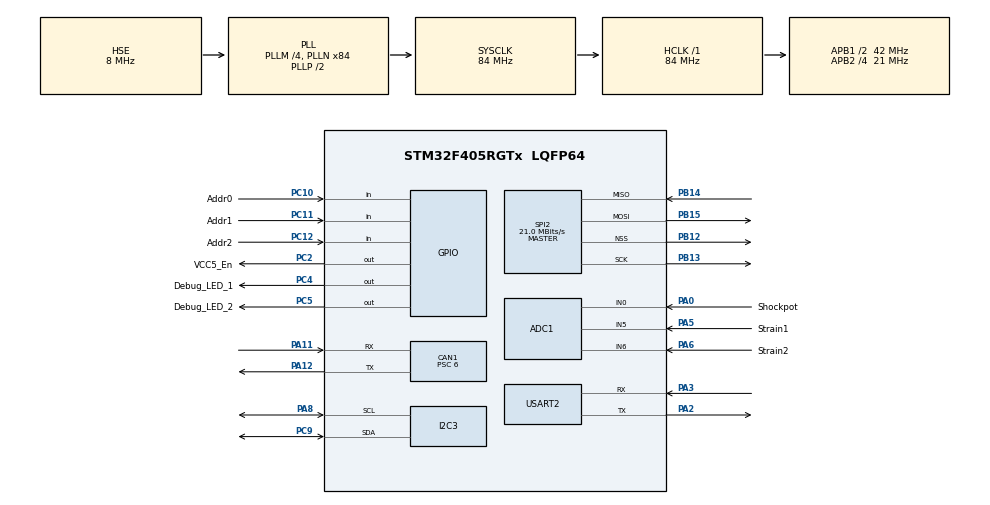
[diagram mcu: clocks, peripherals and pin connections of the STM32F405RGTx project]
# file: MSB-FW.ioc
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ADC1.Channel-0\#ChannelRegularConversion=ADC_CHANNEL_0
ADC1.Channel-1\#ChannelRegularConversion=ADC_CHANNEL_5
ADC1.Channel-2\#ChannelRegularConversion=ADC_CHANNEL_6
ADC1.ClockPrescaler=ADC_CLOCK_SYNC_PCLK_DIV8
ADC1.ContinuousConvMode=ENABLE
ADC1.DMAContinuousRequests=ENABLE
ADC1.EOCSelection=ADC_EOC_SEQ_CONV
ADC1.NbrOfConversion=3
ADC1.NbrOfConversionFlag=1
ADC1.Rank-0\#ChannelRegularConversion=1
ADC1.Rank-1\#ChannelRegularConversion=2
ADC1.Rank-2\#ChannelRegularConversion=3
ADC1.SamplingTime-0\#ChannelRegularConversion=ADC_SAMPLETIME_3CYCLES
ADC1.SamplingTime-1\#ChannelRegularConversion=ADC_SAMPLETIME_3CYCLES
ADC1.SamplingTime-2\#ChannelRegularConversion=ADC_SAMPLETIME_3CYCLES
ADC1.ScanConvMode=ENABLE
ADC1.master=1
CAN1.ABOM=ENABLE
CAN1.BS1=CAN_BS1_11TQ
CAN1.BS2=CAN_BS2_2TQ
CAN1.CalculateBaudRate=500000
CAN1.CalculateTimeBit=2000
CAN1.CalculateTimeQuantum=142.85714285714286
CAN1.NART=DISABLE
CAN1.Prescaler=6
Dma.ADC1.0.Direction=DMA_PERIPH_TO_MEMORY
Dma.ADC1.0.FIFOMode=DMA_FIFOMODE_DISABLE
Dma.ADC1.0.Instance=DMA2_Stream0
Dma.ADC1.0.MemDataAlignment=DMA_MDATAALIGN_WORD
Dma.ADC1.0.MemInc=DMA_MINC_ENABLE
Dma.ADC1.0.Mode=DMA_CIRCULAR
Dma.ADC1.0.PeriphDataAlignment=DMA_PDATAALIGN_WORD
Dma.ADC1.0.PeriphInc=DMA_PINC_DISABLE
Dma.ADC1.0.Priority=DMA_PRIORITY_MEDIUM
Dma.Request0=ADC1
FREERTOS.Tasks01=defaultTask,24,128,StartDefaultTask,Default,NULL,Dynamic,NULL,NULL
FREERTOS.configCHECK_FOR_STACK_OVERFLOW=2
FREERTOS.configUSE_MALLOC_FAILED_HOOK=1
FREERTOS.configUSE_PREEMPTION=0
IWDG.Prescaler=IWDG_PRESCALER_32
Mcu.Family=STM32F4
Mcu.Name=STM32F405RGTx
Mcu.Package=LQFP64
NVIC.CAN1_RX0_IRQn=true\:5\:0\:false\:false\:true\:true\:true\:true\:true
NVIC.DMA2_Stream0_IRQn=true\:5\:0\:false\:false\:true\:true\:false\:true\:true
NVIC.PriorityGroup=NVIC_PRIORITYGROUP_4
NVIC.TIM3_IRQn=true\:15\:0\:false\:false\:true\:false\:false\:true\:true
NVIC.TimeBase=TIM3_IRQn
NVIC.TimeBaseIP=TIM3
PA0-WKUP.GPIO_Label=Shockpot
PA0-WKUP.Signal=ADCx_IN0
PA11.Mode=CAN_Activate
PA11.Signal=CAN1_RX
PA12.Mode=CAN_Activate
PA12.Signal=CAN1_TX
PA13.Mode=Trace_Asynchronous_SW
PA13.Signal=SYS_JTMS-SWDIO
PA14.Mode=Trace_Asynchronous_SW
PA14.Signal=SYS_JTCK-SWCLK
PA15.Signal=SYS_JTDI
PA2.Mode=Asynchronous
PA2.Signal=USART2_TX
PA3.Mode=Asynchronous
PA3.Signal=USART2_RX
PA5.GPIO_Label=Strain1
PA5.Signal=ADCx_IN5
PA6.GPIO_Label=Strain2
PA6.Signal=ADCx_IN6
PA8.Mode=I2C
PA8.Signal=I2C3_SCL
PB12.Mode=NSS_Signal_Hard_Output
PB12.Signal=SPI2_NSS
PB13.Mode=Full_Duplex_Master
PB13.Signal=SPI2_SCK
PB14.Mode=Full_Duplex_Master
PB14.Signal=SPI2_MISO
PB15.Mode=Full_Duplex_Master
PB15.Signal=SPI2_MOSI
PB3.Mode=Trace_Asynchronous_SW
PB3.Signal=SYS_JTDO-SWO
PC10.GPIO_Label=Addr0
PC10.Signal=GPIO_Input
PC11.GPIO_Label=Addr1
PC11.Signal=GPIO_Input
PC12.GPIO_Label=Addr2
PC12.Signal=GPIO_Input
PC14-OSC32_IN.Signal=RCC_OSC32_IN
PC15-OSC32_OUT.Signal=RCC_OSC32_OUT
PC2.GPIO_Label=VCC5_En
PC2.GPIO_PuPd=GPIO_PULLUP
PC2.Signal=GPIO_Output
PC4.GPIO_Label=Debug_LED_1
PC4.Signal=GPIO_Output
PC5.GPIO_Label=Debug_LED_2
PC5.Signal=GPIO_Output
PC9.Mode=I2C
PC9.Signal=I2C3_SDA
PH0-OSC_IN.Mode=HSE-External-Clock-Source
PH0-OSC_IN.Signal=RCC_OSC_IN
PH1-OSC_OUT.Mode=HSE-External-Clock-Source
PH1-OSC_OUT.Signal=RCC_OSC_OUT
ProjectManager.HeapSize=0x200
ProjectManager.StackSize=0x400
ProjectManager.TargetToolchain=Makefile
RCC.48MHZClocksFreq_Value=42000000
RCC.AHBFreq_Value=84000000
RCC.APB1CLKDivider=RCC_HCLK_DIV2
RCC.APB1Freq_Value=42000000
RCC.APB1TimFreq_Value=84000000
RCC.APB2CLKDivider=RCC_HCLK_DIV4
RCC.APB2Freq_Value=21000000
RCC.APB2TimFreq_Value=42000000
RCC.CortexFreq_Value=84000000
RCC.HCLKFreq_Value=84000000
RCC.HSE_VALUE=8000000
RCC.HSI_VALUE=16000000
RCC.LSE_VALUE=32768
RCC.PLLM=4
RCC.PLLN=84
RCC.PLLSourceVirtual=RCC_PLLSOURCE_HSE
RCC.SYSCLKFreq_VALUE=84000000
RCC.SYSCLKSource=RCC_SYSCLKSOURCE_PLLCLK
RCC.VCOOutputFreq_Value=168000000
SH.ADCx_IN0.0=ADC1_IN0,IN0
SH.ADCx_IN5.0=ADC1_IN5,IN5
SH.ADCx_IN6.0=ADC1_IN6,IN6
SPI2.BaudRatePrescaler=SPI_BAUDRATEPRESCALER_2
SPI2.CalculateBaudRate=21.0 MBits/s
SPI2.Direction=SPI_DIRECTION_2LINES
SPI2.Mode=SPI_MODE_MASTER
SPI2.VirtualNSS=VM_NSSHARD
SPI2.VirtualType=VM_MASTER
STMicroelectronics.X-CUBE-MEMS1.9.6.0.SensorsJjSTM32IiMotionFXIiLibraryJjCore=true
USART2.VirtualMode=VM_ASYNC
VP_CRC_VS_CRC.Mode=CRC_Activate
VP_FREERTOS_VS_CMSIS_V2.Mode=CMSIS_V2
VP_IWDG_VS_IWDG.Mode=IWDG_Activate
VP_STMicroelectronics.X-CUBE-MEMS1_VS_SensorsJjSTM32IiMotionFXIiLibrary_2.8.0_9.6.0.Mode=SensorsJjSTM32IiMotionFXIiLibrary
VP_SYS_VS_tim3.Mode=TIM3
board=custom

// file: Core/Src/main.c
/* USER CODE BEGIN Header */
/**
 ******************************************************************************
 * @file           : main.c
 * @brief          : Main program body
 ******************************************************************************
 * @attention
 *
 * Copyright (c) 2024 STMicroelectronics.
 * All rights reserved.
 *
 * This software is licensed under terms that can be found in the LICENSE file
 * in the root directory of this software component.
 * If no LICENSE file comes with this software, it is provided AS-IS.
 *
 ******************************************************************************
 */
/* USER CODE END Header */
#include "main.h"
#include "cmsis_os.h"

/* USER CODE BEGIN Includes */
#include "can_handler.h"
#include "controller.h"
#include "monitor.h"
#include "msb.h"
#include "msb_conf.h"
#include "assert.h"
#include <stdio.h>
/* USER CODE END Includes */

ADC_HandleTypeDef hadc1;
DMA_HandleTypeDef hdma_adc1;

CAN_HandleTypeDef hcan1;

CRC_HandleTypeDef hcrc;

I2C_HandleTypeDef hi2c3;

IWDG_HandleTypeDef hiwdg;

SPI_HandleTypeDef hspi2;

UART_HandleTypeDef huart2;

/* Definitions for defaultTask */
osThreadId_t defaultTaskHandle;
const osThreadAttr_t defaultTask_attributes = {
  .name = "defaultTask",
  .stack_size = 128 * 4,
  .priority = (osPriority_t) osPriorityNormal,
};
/* USER CODE BEGIN PV */
device_loc_t device_loc;

/* USER CODE END PV */

void SystemClock_Config(void);
static void MX_GPIO_Init(void);
static void MX_DMA_Init(void);
static void MX_IWDG_Init(void);
static void MX_ADC1_Init(void);
static void MX_CAN1_Init(void);
static void MX_I2C3_Init(void);
static void MX_SPI2_Init(void);
static void MX_USART2_UART_Init(void);
static void MX_CRC_Init(void);
void StartDefaultTask(void *argument);

/* USER CODE BEGIN 0 */
#ifdef __GNUC__
#define PUTCHAR_PROTOTYPE int __io_putchar(int ch)
#else
#define PUTCHAR_PROTOTYPE int fputc(int ch, FILE *f)
#endif

PUTCHAR_PROTOTYPE
{
  HAL_UART_Transmit(&huart2, (uint8_t *)&ch, 1, HAL_MAX_DELAY);
  return ch;
}

int _write(int file, char* ptr, int len) {
  int DataIdx;

  for (DataIdx = 0; DataIdx < len; DataIdx++) {
    __io_putchar( *ptr++ );
  }
  return len;
}
/* USER CODE END 0 */

int main(void)
{

  /* MCU Configuration--------------------------------------------------------*/

  /* Reset of all peripherals, Initializes the Flash interface and the Systick. */
  HAL_Init();

  /* Configure the system clock */
  SystemClock_Config();

  /* Initialize all configured peripherals */
  MX_GPIO_Init();
  MX_DMA_Init();
  MX_IWDG_Init();
  MX_ADC1_Init();
  MX_CAN1_Init();
  MX_I2C3_Init();
  MX_SPI2_Init();
  MX_USART2_UART_Init();
  MX_CRC_Init();
  /* USER CODE BEGIN 2 */
  printf("INIT MSB... FINDING ID");
  // determine MSB location
  bool loc1 = HAL_GPIO_ReadPin(Addr0_GPIO_Port, Addr0_Pin);
  bool loc2 = HAL_GPIO_ReadPin(Addr1_GPIO_Port, Addr1_Pin);
  bool loc3 = HAL_GPIO_ReadPin(Addr2_GPIO_Port, Addr2_Pin);

  if (loc1 && loc2)
  {
    device_loc = DEVICE_FRONT_LEFT;
  }
  else if (loc1 && !loc2)
  {
    device_loc = DEVICE_FRONT_RIGHT;
  }
  else if (!loc1 && loc2)
  {
    device_loc = DEVICE_BACK_LEFT;
  }
  else if (!loc1 && !loc3)
  {
    device_loc = DEVICE_BACK_RIGHT;
  }
  else
  {
    device_loc = DEVICE_FRONT_LEFT;
  }
  HAL_Delay(500);
  uint8_t devices = 0u;
  printf("Searching for I2C devices on the bus...\n");
  /* Values outside 0x03 and 0x77 are invalid. */
  for (uint8_t i = 0x03u; i < 0x78u; i++)
  {
    HAL_IWDG_Refresh(&hiwdg);
    uint8_t address = i << 1u ;
    /* In case there is a positive feedback, print it out. */
    if (HAL_OK == HAL_I2C_IsDeviceReady(&hi2c3, address, 3u, 10u))
    {
      printf("Device found: 0x%02X\n", address);
      devices++;
    }
  }
  /* Feedback of the total number of devices. */
  if (0u == devices)
  {
    printf("No device found.\n");
  }
  else
  {
    printf("Total found devices: %d\n", devices);
  }

  /* USER CODE END 2 */

  /* Init scheduler */
  osKernelInitialize();

  /* USER CODE BEGIN RTOS_MUTEX */
  /* add mutexes, ... */

  // determine the configuration of the device

  msb_init();
  vcc5_en_write(true);
  can1_init();

  /* USER CODE END RTOS_MUTEX */

  /* USER CODE BEGIN RTOS_QUEUES */
  /* add queues, ... */
  can_dispatch_handle = osThreadNew(vCanDispatch, NULL, &can_dispatch_attributes);
  assert(can_dispatch_handle);
  /* USER CODE END RTOS_QUEUES */

  /* Create the thread(s) */
  /* creation of defaultTask */
  defaultTaskHandle = osThreadNew(StartDefaultTask, NULL, &defaultTask_attributes);

  /* USER CODE BEGIN RTOS_THREADS */
  /* add threads, ... */
  #ifdef SENSOR_TEMP
  temp_monitor_handle = osThreadNew(vTempMonitor, NULL, &temp_monitor_attributes);
  assert(temp_monitor_handle);
  #endif

  #ifdef SENSOR_IMU
  imu_monitor_handle = osThreadNew(vIMUMonitor, NULL, &imu_monitor_attributes);
  assert(imu_monitor_handle);
  #endif

  #ifdef SENSOR_TOF
  tof_monitor_handle = osThreadNew(vTOFMonitor, NULL, &tof_monitor_attributes);
  assert(tof_monitor_handle);
  #endif

  #ifdef SENSOR_SHOCKPOT
  shockpot_monitor_handle = osThreadNew(vShockpotMonitor, NULL, &shockpot_monitor_attributes);
  assert(shockpot_monitor_handle);
  #endif

  #ifdef SENSOR_STRAIN
  strain_monitor_handle = osThreadNew(vStrainMonitor, NULL, &strain_monitor_attributes);
  assert(strain_monitor_handle);
  #endif

  led_controller_handle = osThreadNew(vLedController, NULL, &led_controller_attributes);
  assert(led_controller_handle);

  /* USER CODE END RTOS_THREADS */

  /* Start scheduler */
  osKernelStart();

  /* We should never get here as control is now taken by the scheduler */

  /* Infinite loop */
  while (1)
  {

  }
}

void SystemClock_Config(void)
{
  RCC_OscInitTypeDef RCC_OscInitStruct = {0};
  RCC_ClkInitTypeDef RCC_ClkInitStruct = {0};

  /** Configure the main internal regulator output voltage
  */
  __HAL_RCC_PWR_CLK_ENABLE();
  __HAL_PWR_VOLTAGESCALING_CONFIG(PWR_REGULATOR_VOLTAGE_SCALE1);

  /** Initializes the RCC Oscillators according to the specified parameters
  * in the RCC_OscInitTypeDef structure.
  */
  RCC_OscInitStruct.OscillatorType = RCC_OSCILLATORTYPE_LSI|RCC_OSCILLATORTYPE_HSE;
  RCC_OscInitStruct.HSEState = RCC_HSE_BYPASS;
  RCC_OscInitStruct.LSIState = RCC_LSI_ON;
  RCC_OscInitStruct.PLL.PLLState = RCC_PLL_ON;
  RCC_OscInitStruct.PLL.PLLSource = RCC_PLLSOURCE_HSE;
  RCC_OscInitStruct.PLL.PLLM = 4;
  RCC_OscInitStruct.PLL.PLLN = 84;
  RCC_OscInitStruct.PLL.PLLP = RCC_PLLP_DIV2;
  RCC_OscInitStruct.PLL.PLLQ = 4;
  if (HAL_RCC_OscConfig(&RCC_OscInitStruct) != HAL_OK)
  {
    Error_Handler();
  }

  /** Initializes the CPU, AHB and APB buses clocks
  */
  RCC_ClkInitStruct.ClockType = RCC_CLOCKTYPE_HCLK|RCC_CLOCKTYPE_SYSCLK
                              |RCC_CLOCKTYPE_PCLK1|RCC_CLOCKTYPE_PCLK2;
  RCC_ClkInitStruct.SYSCLKSource = RCC_SYSCLKSOURCE_PLLCLK;
  RCC_ClkInitStruct.AHBCLKDivider = RCC_SYSCLK_DIV1;
  RCC_ClkInitStruct.APB1CLKDivider = RCC_HCLK_DIV2;
  RCC_ClkInitStruct.APB2CLKDivider = RCC_HCLK_DIV4;

  if (HAL_RCC_ClockConfig(&RCC_ClkInitStruct, FLASH_LATENCY_2) != HAL_OK)
  {
    Error_Handler();
  }
}

static void MX_ADC1_Init(void)
{

  ADC_ChannelConfTypeDef sConfig = {0};

  /** Configure the global features of the ADC (Clock, Resolution, Data Alignment and number of conversion)
  */
  hadc1.Instance = ADC1;
  hadc1.Init.ClockPrescaler = ADC_CLOCK_SYNC_PCLK_DIV8;
  hadc1.Init.Resolution = ADC_RESOLUTION_12B;
  hadc1.Init.ScanConvMode = ENABLE;
  hadc1.Init.ContinuousConvMode = ENABLE;
  hadc1.Init.DiscontinuousConvMode = DISABLE;
  hadc1.Init.ExternalTrigConvEdge = ADC_EXTERNALTRIGCONVEDGE_NONE;
  hadc1.Init.ExternalTrigConv = ADC_SOFTWARE_START;
  hadc1.Init.DataAlign = ADC_DATAALIGN_RIGHT;
  hadc1.Init.NbrOfConversion = 3;
  hadc1.Init.DMAContinuousRequests = ENABLE;
  hadc1.Init.EOCSelection = ADC_EOC_SEQ_CONV;
  if (HAL_ADC_Init(&hadc1) != HAL_OK)
  {
    Error_Handler();
  }

  /** Configure for the selected ADC regular channel its corresponding rank in the sequencer and its sample time.
  */
  sConfig.Channel = ADC_CHANNEL_0;
  sConfig.Rank = 1;
  sConfig.SamplingTime = ADC_SAMPLETIME_3CYCLES;
  if (HAL_ADC_ConfigChannel(&hadc1, &sConfig) != HAL_OK)
  {
    Error_Handler();
  }

  /** Configure for the selected ADC regular channel its corresponding rank in the sequencer and its sample time.
  */
  sConfig.Channel = ADC_CHANNEL_5;
  sConfig.Rank = 2;
  if (HAL_ADC_ConfigChannel(&hadc1, &sConfig) != HAL_OK)
  {
    Error_Handler();
  }

  /** Configure for the selected ADC regular channel its corresponding rank in the sequencer and its sample time.
  */
  sConfig.Channel = ADC_CHANNEL_6;
  sConfig.Rank = 3;
  if (HAL_ADC_ConfigChannel(&hadc1, &sConfig) != HAL_OK)
  {
    Error_Handler();
  }

}

static void MX_CAN1_Init(void)
{

  hcan1.Instance = CAN1;
  hcan1.Init.Prescaler = 6;
  hcan1.Init.Mode = CAN_MODE_NORMAL;
  hcan1.Init.SyncJumpWidth = CAN_SJW_1TQ;
  hcan1.Init.TimeSeg1 = CAN_BS1_11TQ;
  hcan1.Init.TimeSeg2 = CAN_BS2_2TQ;
  hcan1.Init.TimeTriggeredMode = DISABLE;
  hcan1.Init.AutoBusOff = ENABLE;
  hcan1.Init.AutoWakeUp = DISABLE;
  hcan1.Init.AutoRetransmission = DISABLE;
  hcan1.Init.ReceiveFifoLocked = DISABLE;
  hcan1.Init.TransmitFifoPriority = DISABLE;
  if (HAL_CAN_Init(&hcan1) != HAL_OK)
  {
    Error_Handler();
  }

}

static void MX_CRC_Init(void)
{

  hcrc.Instance = CRC;
  if (HAL_CRC_Init(&hcrc) != HAL_OK)
  {
    Error_Handler();
  }

}

static void MX_I2C3_Init(void)
{

  hi2c3.Instance = I2C3;
  hi2c3.Init.ClockSpeed = 100000;
  hi2c3.Init.DutyCycle = I2C_DUTYCYCLE_2;
  hi2c3.Init.OwnAddress1 = 0;
  hi2c3.Init.AddressingMode = I2C_ADDRESSINGMODE_7BIT;
  hi2c3.Init.DualAddressMode = I2C_DUALADDRESS_DISABLE;
  hi2c3.Init.OwnAddress2 = 0;
  hi2c3.Init.GeneralCallMode = I2C_GENERALCALL_DISABLE;
  hi2c3.Init.NoStretchMode = I2C_NOSTRETCH_DISABLE;
  if (HAL_I2C_Init(&hi2c3) != HAL_OK)
  {
    Error_Handler();
  }

}

static void MX_IWDG_Init(void)
{

  hiwdg.Instance = IWDG;
  hiwdg.Init.Prescaler = IWDG_PRESCALER_32;
  hiwdg.Init.Reload = 4095;
  if (HAL_IWDG_Init(&hiwdg) != HAL_OK)
  {
    Error_Handler();
  }

}

static void MX_SPI2_Init(void)
{

  /* SPI2 parameter configuration*/
  hspi2.Instance = SPI2;
  hspi2.Init.Mode = SPI_MODE_MASTER;
  hspi2.Init.Direction = SPI_DIRECTION_2LINES;
  hspi2.Init.DataSize = SPI_DATASIZE_8BIT;
  hspi2.Init.CLKPolarity = SPI_POLARITY_LOW;
  hspi2.Init.CLKPhase = SPI_PHASE_1EDGE;
  hspi2.Init.NSS = SPI_NSS_HARD_OUTPUT;
  hspi2.Init.BaudRatePrescaler = SPI_BAUDRATEPRESCALER_2;
  hspi2.Init.FirstBit = SPI_FIRSTBIT_MSB;
  hspi2.Init.TIMode = SPI_TIMODE_DISABLE;
  hspi2.Init.CRCCalculation = SPI_CRCCALCULATION_DISABLE;
  hspi2.Init.CRCPolynomial = 10;
  if (HAL_SPI_Init(&hspi2) != HAL_OK)
  {
    Error_Handler();
  }

}

static void MX_USART2_UART_Init(void)
{

  huart2.Instance = USART2;
  huart2.Init.BaudRate = 115200;
  huart2.Init.WordLength = UART_WORDLENGTH_8B;
  huart2.Init.StopBits = UART_STOPBITS_1;
  huart2.Init.Parity = UART_PARITY_NONE;
  huart2.Init.Mode = UART_MODE_TX_RX;
  huart2.Init.HwFlowCtl = UART_HWCONTROL_NONE;
  huart2.Init.OverSampling = UART_OVERSAMPLING_16;
  if (HAL_UART_Init(&huart2) != HAL_OK)
  {
    Error_Handler();
  }

}

static void MX_DMA_Init(void)
{

  /* DMA controller clock enable */
  __HAL_RCC_DMA2_CLK_ENABLE();

  /* DMA interrupt init */
  /* DMA2_Stream0_IRQn interrupt configuration */
  HAL_NVIC_SetPriority(DMA2_Stream0_IRQn, 5, 0);
  HAL_NVIC_EnableIRQ(DMA2_Stream0_IRQn);

}

static void MX_GPIO_Init(void)
{
  GPIO_InitTypeDef GPIO_InitStruct = {0};

  /* GPIO Ports Clock Enable */
  __HAL_RCC_GPIOC_CLK_ENABLE();
  __HAL_RCC_GPIOH_CLK_ENABLE();
  __HAL_RCC_GPIOA_CLK_ENABLE();
  __HAL_RCC_GPIOB_CLK_ENABLE();

  /*Configure GPIO pin Output Level */
  HAL_GPIO_WritePin(GPIOC, VCC5_En_Pin|Debug_LED_1_Pin|Debug_LED_2_Pin, GPIO_PIN_RESET);

  /*Configure GPIO pin : VCC5_En_Pin */
  GPIO_InitStruct.Pin = VCC5_En_Pin;
  GPIO_InitStruct.Mode = GPIO_MODE_OUTPUT_PP;
  GPIO_InitStruct.Pull = GPIO_PULLUP;
  GPIO_InitStruct.Speed = GPIO_SPEED_FREQ_LOW;
  HAL_GPIO_Init(VCC5_En_GPIO_Port, &GPIO_InitStruct);

  /*Configure GPIO pins : Debug_LED_1_Pin Debug_LED_2_Pin */
  GPIO_InitStruct.Pin = Debug_LED_1_Pin|Debug_LED_2_Pin;
  GPIO_InitStruct.Mode = GPIO_MODE_OUTPUT_PP;
  GPIO_InitStruct.Pull = GPIO_NOPULL;
  GPIO_InitStruct.Speed = GPIO_SPEED_FREQ_LOW;
  HAL_GPIO_Init(GPIOC, &GPIO_InitStruct);

  /*Configure GPIO pins : Addr0_Pin Addr1_Pin Addr2_Pin */
  GPIO_InitStruct.Pin = Addr0_Pin|Addr1_Pin|Addr2_Pin;
  GPIO_InitStruct.Mode = GPIO_MODE_INPUT;
  GPIO_InitStruct.Pull = GPIO_NOPULL;
  HAL_GPIO_Init(GPIOC, &GPIO_InitStruct);

}

void StartDefaultTask(void *argument)
{
  /* USER CODE BEGIN 5 */
  uint8_t i = 0;
  printf("Init MSB default task...\r\n");
  /* Infinite loop */
  for (;;)
  {
    /* Pet watchdog, will reset after 4ish seconds */
    HAL_IWDG_Refresh(&hiwdg);
    if (i % 2 == 0) {
          printf("MSB TYPE: %d\r\n", device_loc);
    } else {
        printf("..\r\n");
    }
    i++;
    osDelay(500);
  }
  /* USER CODE END 5 */
}

void HAL_TIM_PeriodElapsedCallback(TIM_HandleTypeDef *htim)
{
  if (htim->Instance == TIM3) {
    HAL_IncTick();
  }
}

void Error_Handler(void)
{
  /* USER CODE BEGIN Error_Handler_Debug */
  /* User can add his own implementation to report the HAL error return state */
  __disable_irq();
  while (1)
  {
    printf("Error Hanlder HIT!\r\n");
  }
  /* USER CODE END Error_Handler_Debug */
}

#ifdef  USE_FULL_ASSERT
/**
  * @brief  Reports the name of the source file and the source line number
  *         where the assert_param error has occurred.
  * @param  file: pointer to the source file name
  * @param  line: assert_param error line source number
  * @retval None
  */
void assert_failed(uint8_t *file, uint32_t line)
{
  /* USER CODE BEGIN 6 */
  /* User can add his own implementation to report the file name and line number, */
  printf("Param Assert failed: file %s on line %ld\r\n", file, line);
  /* USER CODE END 6 */
}
#endif /* USE_FULL_ASSERT */

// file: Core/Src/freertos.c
/* USER CODE BEGIN Header */
/**
  ******************************************************************************
  * File Name          : freertos.c
  * Description        : Code for freertos applications
  ******************************************************************************
  * @attention
  *
  * Copyright (c) 2024 STMicroelectronics.
  * All rights reserved.
  *
  * This software is licensed under terms that can be found in the LICENSE file
  * in the root directory of this software component.
  * If no LICENSE file comes with this software, it is provided AS-IS.
  *
  ******************************************************************************
  */
/* USER CODE END Header */

#include "FreeRTOS.h"
#include "task.h"
#include "main.h"

/* USER CODE BEGIN Includes */
#include <stdio.h>
/* USER CODE END Includes */

/* Hook prototypes */
void vApplicationStackOverflowHook(xTaskHandle xTask, signed char *pcTaskName);
void vApplicationMallocFailedHook(void);

/* USER CODE BEGIN 4 */
void vApplicationStackOverflowHook(xTaskHandle xTask, signed char *pcTaskName)
{
   /* Run time stack overflow checking is performed if
   configCHECK_FOR_STACK_OVERFLOW is defined to 1 or 2. This hook function is
   called if a stack overflow is detected. */
   printf("ERROR: STACK OVERFLOW in ");
	printf((char *)pcTaskName);
	printf("\r\n");
}
/* USER CODE END 4 */

/* USER CODE BEGIN 5 */
void vApplicationMallocFailedHook(void)
{
   /* vApplicationMallocFailedHook() will only be called if
   configUSE_MALLOC_FAILED_HOOK is set to 1 in FreeRTOSConfig.h. It is a hook
   function that will get called if a call to pvPortMalloc() fails.
   pvPortMalloc() is called internally by the kernel whenever a task, queue,
   timer or semaphore is created. It is also called by various parts of the
   demo application. If heap_1.c or heap_2.c are used, then the size of the
   heap available to pvPortMalloc() is defined by configTOTAL_HEAP_SIZE in
   FreeRTOSConfig.h, and the xPortGetFreeHeapSize() API function can be used
   to query the size of free heap space that remains (although it does not
   provide information on how the remaining heap might be fragmented). */
   printf("ERROR: MALLOC FAILED\r\n");
}
/* USER CODE END 5 */
